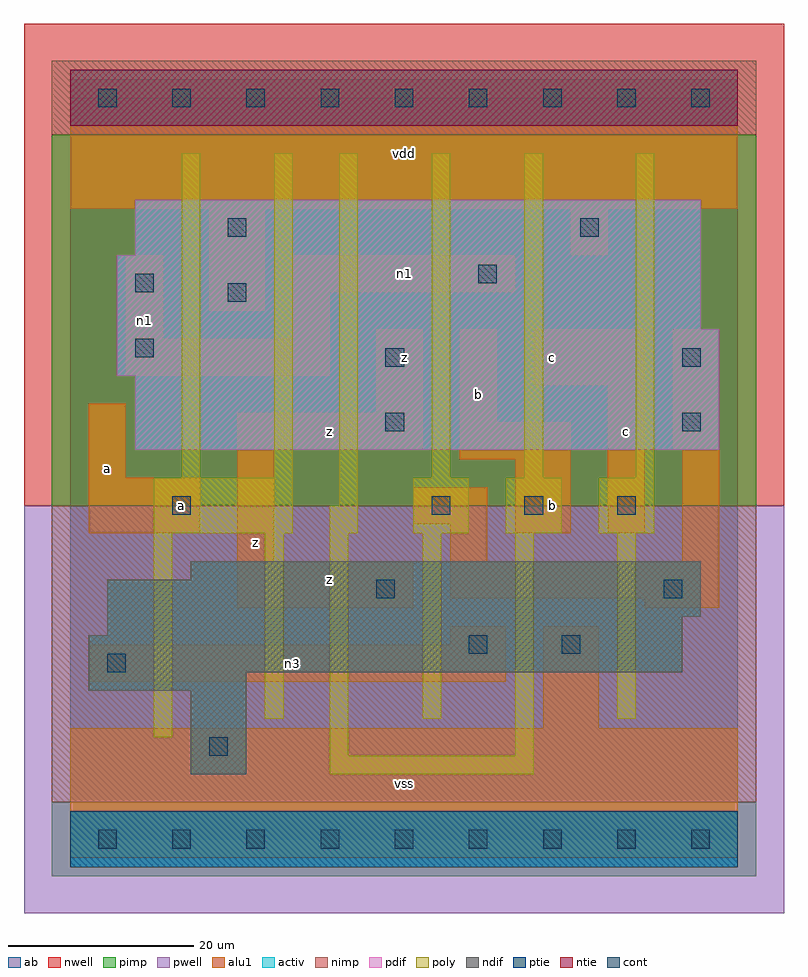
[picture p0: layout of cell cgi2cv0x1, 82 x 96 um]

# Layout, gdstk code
import gdstk
lib = gdstk.Library(unit=1e-6, precision=1e-09)
def R(c, l, rs):  # rectangles x0, y0, x1, y1
    for r in rs: c.add(gdstk.rectangle(r[:2], r[2:], *l))
def A(c, l, x, y, w, h, nx, ny, dx, dy):  # array of equal rectangles
    R(c, l, [(x+i*dx, y+j*dy, x+i*dx+w, y+j*dy+h) for i in range(nx) for j in range(ny)])
ndif = (3, 0)
pdif = (4, 0)
ntie = (5, 0)
ptie = (6, 0)
cont = (25, 0)
pwell = (41, 0)
nwell = (42, 0)
activ = (43, 0)
pimp = (44, 0)
nimp = (45, 0)
poly = (46, 0)
alu1 = (49, 0)
ab = (63, 0)

cgi2cv0x1 = lib.new_cell('cgi2cv0x1')
R(cgi2cv0x1, ndif, [(13,7,19,16), (2,16,19,18), (2,18,66,22), (4,22,66,24), (4,24,68,28), (13,28,68,30)])
R(cgi2cv0x1, pdif, [(7,42,70,50), (5,50,70,55), (5,55,68,63), (7,63,68,69)])
R(cgi2cv0x1, ntie, [(0,77,72,83)])
R(cgi2cv0x1, ptie, [(0,-3,72,3)])
A(cgi2cv0x1, cont, 3, -1, 2, 2, 9, 2, 8, 80)
A(cgi2cv0x1, cont, 39, 35, 2, 2, 3, 1, 10, 0)
R(cgi2cv0x1, cont, [(15,9,17,11), (4,18,6,20), (43,20,45,22), (53,20,55,22), (33,26,35,28), (64,26,66,28), (11,35,13,37), (34,44,36,46), (66,44,68,46), (34,51,36,53), (66,51,68,53), (7,52,9,54), (17,58,19,60), (7,59,9,61), (44,60,46,62), (17,65,19,67), (55,65,57,67)])
R(cgi2cv0x1, pwell, [(-5,-8,77,36)])
R(cgi2cv0x1, nwell, [(-5,36,77,88)])
R(cgi2cv0x1, activ, [(0,-3,72,3), (13,7,19,16), (2,16,19,18), (2,18,66,22), (4,22,66,24), (4,24,68,28), (13,28,68,30), (7,42,70,50), (5,50,70,55), (5,55,68,63), (7,63,68,69), (0,77,72,83)])
R(cgi2cv0x1, pimp, [(-2,-4,74,4), (-2,36,74,76)])
R(cgi2cv0x1, nimp, [(-2,4,74,36), (-2,76,74,84)])
A(cgi2cv0x1, poly, 37, 33, 6, 6, 3, 1, 10, 0)
R(cgi2cv0x1, poly, [(28,7,50,9), (28,9,30,33), (48,9,50,33), (9,11,11,33), (21,13,23,33), (38,13,40,33), (59,13,61,33), (9,33,24,39), (28,33,31,36), (29,36,31,74), (12,39,14,74), (22,39,24,74), (39,39,41,74), (49,39,51,74), (61,39,63,74)])
R(cgi2cv0x1, alu1, [(0,-2,72,12), (51,12,57,23), (2,17,47,21), (41,21,47,23), (18,25,37,30), (62,25,70,26), (41,26,70,30), (18,30,22,42), (41,30,45,34), (66,30,70,42), (2,33,14,39), (48,33,54,41), (58,33,62,49), (37,34,45,38), (2,39,6,47), (42,41,54,45), (18,42,38,46), (65,42,70,55), (42,45,46,55), (33,46,38,55), (50,49,62,55), (6,50,28,54), (6,54,10,63), (24,54,28,59), (15,57,21,68), (24,59,48,63), (54,63,58,68), (0,68,72,82)])
R(cgi2cv0x1, ab, [(0,0,72,80)])
cgi2cv0x1.add(gdstk.Label('n1', (8,56), layer=49, texttype=0))
cgi2cv0x1.add(gdstk.Label('n3', (24,19), layer=49, texttype=0))
cgi2cv0x1.add(gdstk.Label('n1', (36,61), layer=49, texttype=0))
cgi2cv0x1.add(gdstk.Label('a', (12,36), layer=49, texttype=0))
cgi2cv0x1.add(gdstk.Label('a', (4,40), layer=49, texttype=0))
cgi2cv0x1.add(gdstk.Label('z', (20,32), layer=49, texttype=0))
cgi2cv0x1.add(gdstk.Label('z', (28,28), layer=49, texttype=0))
cgi2cv0x1.add(gdstk.Label('z', (28,44), layer=49, texttype=0))
cgi2cv0x1.add(gdstk.Label('vss', (36,6), layer=49, texttype=0))
cgi2cv0x1.add(gdstk.Label('b', (52,36), layer=49, texttype=0))
cgi2cv0x1.add(gdstk.Label('z', (36,52), layer=49, texttype=0))
cgi2cv0x1.add(gdstk.Label('c', (52,52), layer=49, texttype=0))
cgi2cv0x1.add(gdstk.Label('b', (44,48), layer=49, texttype=0))
cgi2cv0x1.add(gdstk.Label('vdd', (36,74), layer=49, texttype=0))
cgi2cv0x1.add(gdstk.Label('c', (60,44), layer=49, texttype=0))

lib.write_gds('cgi2cv0x1.gds')
